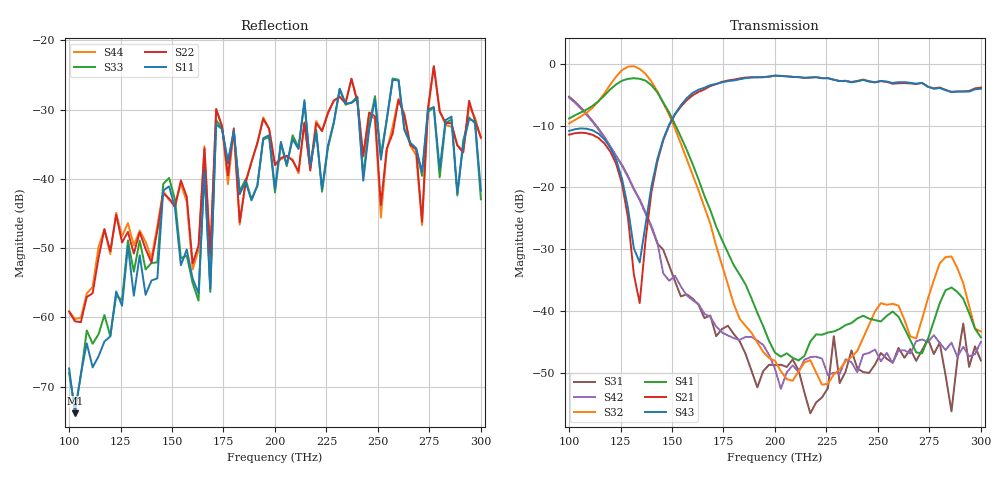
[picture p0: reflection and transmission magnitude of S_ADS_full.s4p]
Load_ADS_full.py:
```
""" Load_ADS_full.py      => This script Loads the S-parameter results of full-order netlist (full equivalent circuit of optical interconnect) calculated using Keysight ADS software

Author: Rasul Choupanzadeh
Date: 06/28/2022

"""

 
 ## Input: S_ADS_full.s4p           Output: S_ADS matrix
 
 
import numpy as np

# Load and read the text file line by line 
file_name = 'S_ADS_full.s4p' 

p = int(file_name[-2])
ADS = open(file_name).readlines()  

# Find the starting and ending rows of values
for i in range(len(ADS)):
    if ADS[i][0] == '!':
        start_value = i+1  
end_value = len(ADS)

ADS = ADS[start_value:end_value][:]                 # removes the initial text lines
ADS = [line.split() for line in ADS]                # removes the empty columns (space between numbers)
ADS = [ele for ele in ADS if ele != []]             # removes the empty rows (empty lines)

# remove the frequency values
frequency = []
for i in range(len(ADS)):
    if len(ADS[i]) == 2*p+1:
        frequency.append(float(ADS[i][0]))
        ADS[i] = ADS[i][1:]
        
frequency = np.array(frequency)
                     
# converting from string to float
ADS_shape = np.shape(ADS)
S_ADS_raw = np.zeros(shape=(ADS_shape[0],ADS_shape[1]))     
for i in range(len(ADS)):
    for j in range(len(ADS[i])):
        S_ADS_raw[i][j] = float(ADS[i][j])

# Combining real and imaginary values into a single value
S_ADS_raw2 = np.zeros(shape=(ADS_shape[0],p), dtype='complex')   
nt = 0
for k in range(0,2*p,2):
    S_ADS_raw2[:,nt] = S_ADS_raw[:,k]+1j*S_ADS_raw[:,k+1]
    nt = nt+1

num_freq_points = int(S_ADS_raw.shape[0]/p)
S_ADS = np.zeros(shape=(num_freq_points,p,p), dtype='complex')
for i in range(0,num_freq_points):
    S_ADS[i,:,:] = S_ADS_raw2[i*p:(i+1)*p,:]
```
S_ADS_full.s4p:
! Created Mon Jun 27 09:49:36 2022
# hz S ri R 50
! 4 Port Network Data from SP1.SP block
! freq  reS11  imS11  reS12  imS12  reS13  imS13  reS14  imS14
!  reS21  imS21  reS22  imS22  reS23  imS23  reS24  imS24
!  reS31  imS31  reS32  imS32  reS33  imS33  reS34  imS34
!  reS41  imS41  reS42  imS42  reS43  imS43  reS44  imS44
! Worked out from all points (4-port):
!   71 points, 100 THz to 300.1 THz, reference 50 ohm
!   strongest paths, dB at 100 THz, 148.6 THz, 200 THz, 251.5 THz, 300.1 THz:
!     S43: -10.8, -9.9, -1.9, -2.8, -4.0
!     S21: -11.4, -9.9, -1.9, -2.8, -3.8
!     S41: -8.8, -7.8, -46.8, -41.7, -44.3
!     S32: -9.6, -8.2, -48.1, -38.7, -43.3
!     S42: -5.5, -35.1, -49.4, -48.2, -45.0
!     S31: -5.3, -32.6, -48.8, -46.8, -48.0
!   lowest |S11| = -73.8 dB at 102.9 THz (marker M1), VSWR 1.00, Z = 50 + j0.0163 ohm
!   |S11| at or under -10 dB: start of sweep to end of sweep
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1.000168e14  -0.000411 0.000121  0.267 -0.0185  0.5398 -0.0635  0.3609 -0.0211
             0.267 -0.0185  -0.000847 0.000703  0.3294 -0.0209  0.5307 -0.0528
             0.5398 -0.0635  0.3294 -0.0209  -0.000355 0.000178  0.2861 -0.0217
             0.3609 -0.0211  0.5307 -0.0528  0.2861 -0.0217  -0.000834 0.000732
1.028744e14  -0.000121 0.000163  0.274 -0.0191  0.4915 -0.0444  0.383 -0.0213
             0.274 -0.0191  -0.000314 0.000883  0.3514 -0.0212  0.4833 -0.0371
             0.4915 -0.0444  0.3514 -0.0212  -0.000146 0.000159  0.2952 -0.0227
             0.383 -0.0213  0.4833 -0.0371  0.2952 -0.0227  -0.000306 0.000926
3.000503e14  -0.00816 -0.00101  0.6438 -0.00318  0.00364 0.00156  0.0061 -0.000275
             0.6438 -0.00318  -0.02 -0.00107  0.00681 -0.00028  0.00504 -0.00249
             0.00364 0.00156  0.00681 -0.00028  -0.00706 -0.00108  0.6293 -0.00281
             0.0061 -0.000275  0.00504 -0.00249  0.6293 -0.00281  -0.0197 -0.00112
